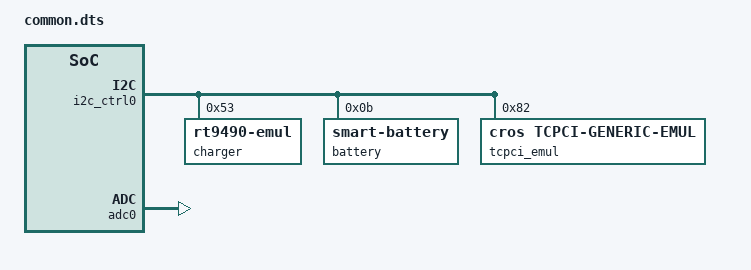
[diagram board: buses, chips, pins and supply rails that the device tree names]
/* Copyright 2022 The ChromiumOS Authors
 * Use of this source code is governed by a BSD-style license that can be
 * found in the LICENSE file.
 */

#include <it8xxx2_emul.dts>

/ {
	pinctrl: pinctrl {
		compatible = "ite,it8xxx2-pinctrl";
		status = "disabled";
	};

	named-i2c-ports {
		compatible = "named-i2c-ports";

		i2c_charger: charger {
			i2c-port = <&i2c_ctrl0>;
			enum-names = "I2C_PORT_CHARGER",
				"I2C_PORT_BATTERY";
		};
	};

	usbc {
		#address-cells = <1>;
		#size-cells = <0>;

		port0@0 {
			compatible = "named-usbc-port";
			status = "okay";
			reg = <0>;
			chg = <&charger>;
			tcpc = <&tcpci_emul>;
		};

		port1@1 {
			compatible = "named-usbc-port";
			status = "okay";
			reg = <1>;
			tcpc = <&tcpci_emul>;
		};
	};

	batteries {
		default_battery: lgc_ac17a8m {
			compatible = "lgc,ac17a8m", "battery-smart";
		};
	};

	named-adc-channels {
		compatible = "named-adc-channels";

		adc_vbus_c0 {
			enum-name = "ADC_VBUS_C0";
			io-channels = <&adc0 0>;
			mul = <10>;
		};
		adc_board_id0 {
			enum-name = "ADC_BOARD_ID_0";
			io-channels = <&adc0 1>;
		};
		adc_board_id1 {
			enum-name = "ADC_BOARD_ID_1";
			io-channels = <&adc0 2>;
		};
		adc_vbus_c1 {
			enum-name = "ADC_VBUS_C1";
			io-channels = <&adc0 7>;
			mul = <10>;
		};
	};
};

&i2c_ctrl0 {
	status="okay";

	charger: rt9490@53 {
		compatible = "zephyr,rt9490-emul";
		status = "okay";
		reg = <0x53>;
	};

	battery: sb@b {
		compatible = "zephyr,smart-battery";
		reg = <0xb>;
		cycle-count = <99>;
		version = "BATTERY_SPEC_VER_1_1_WITH_PEC";
		/* Real battery voltages are multiples of 4.4V. */
		desired-charg-volt = <5000>;
		desired-charg-cur = <1000>;
		mf-name = "LGC";
		dev-name = "AC17A8M";
	};

	tcpci_emul: tcpci_emul@82 {
		compatible = "cros,tcpci-generic-emul";
		status = "okay";
		reg = <0x82>;
	};
};

&adc0 {
	status = "okay";
};
